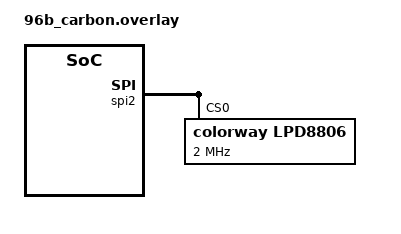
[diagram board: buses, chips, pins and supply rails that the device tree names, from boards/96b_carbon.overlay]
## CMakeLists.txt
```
# SPDX-License-Identifier: Apache-2.0

cmake_minimum_required(VERSION 3.13.1)

find_package(Zephyr REQUIRED HINTS $ENV{ZEPHYR_BASE})
project(led_lpd8806)

FILE(GLOB app_sources src/*.c)
target_sources(app PRIVATE ${app_sources})
```

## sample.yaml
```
sample:
  description: Demonstration of the lpd880x LED driver
  name: LPD880x sample
tests:
  sample.drivers.led.lpd8806:
    platform_allow: 96b_carbon
    tags: LED
```

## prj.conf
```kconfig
# This file expresses generic requirements ONLY; see README.rst.

CONFIG_LOG=y
CONFIG_BOOT_BANNER=y
CONFIG_POLL=y

CONFIG_SPI=y

CONFIG_LED_STRIP=y
CONFIG_LPD880X_STRIP=y
```

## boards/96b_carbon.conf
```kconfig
CONFIG_SPI_STM32=y
CONFIG_SPI_STM32_INTERRUPT=y
```

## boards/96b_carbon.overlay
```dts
/*
 * Copyright (c) 2019, Linaro Limited
 *
 * SPDX-License-Identifier: Apache-2.0
 */

&spi2 {

	led_strip@0 {
		compatible = "colorway,lpd8806";
		reg = <0>;
		spi-max-frequency = <2000000>;
		label = "LPD8806";
	};
};
```

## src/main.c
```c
/*
 * Copyright (c) 2017 Linaro Limited
 *
 * SPDX-License-Identifier: Apache-2.0
 */

#include <errno.h>
#include <string.h>

#define LOG_LEVEL CONFIG_LOG_DEFAULT_LEVEL
#include <logging/log.h>
LOG_MODULE_REGISTER(main);

#include <zephyr.h>
#include <drivers/led_strip.h>
#include <device.h>
#include <drivers/spi.h>
#include <sys/util.h>

/*
 * Number of RGB LEDs in the LED strip, adjust as needed.
 */
#define STRIP_NUM_LEDS 32

#define DELAY_TIME K_MSEC(40)

static const struct led_rgb colors[] = {
	{ .r = 0xff, .g = 0x00, .b = 0x00, }, /* red */
	{ .r = 0x00, .g = 0xff, .b = 0x00, }, /* green */
	{ .r = 0x00, .g = 0x00, .b = 0xff, }, /* blue */
};

static const struct led_rgb black = {
	.r = 0x00,
	.g = 0x00,
	.b = 0x00,
};

struct led_rgb strip_colors[STRIP_NUM_LEDS];

static const struct device *strip = DEVICE_DT_GET_ANY(colorway_lpd8806);

const struct led_rgb *color_at(size_t time, size_t i)
{
	size_t rgb_start = time % STRIP_NUM_LEDS;

	if (rgb_start <= i && i < rgb_start + ARRAY_SIZE(colors)) {
		return &colors[i - rgb_start];
	} else {
		return &black;
	}
}

void main(void)
{
	size_t i, time;

	if (!strip) {
		LOG_ERR("LED strip device not found");
		return;
	} else if (!device_is_ready(strip)) {
		LOG_INF("LED strip device %s is not ready", strip->name);
		return;
	}
	LOG_INF("Found LED strip device %s", strip->name);

	/*
	 * Display a pattern that "walks" the three primary colors
	 * down the strip until it reaches the end, then starts at the
	 * beginning.
	 */
	LOG_INF("Displaying pattern on strip");
	time = 0;
	while (1) {
		for (i = 0; i < STRIP_NUM_LEDS; i++) {
			memcpy(&strip_colors[i], color_at(time, i),
			       sizeof(strip_colors[i]));
		}
		led_strip_update_rgb(strip, strip_colors, STRIP_NUM_LEDS);
		k_sleep(DELAY_TIME);
		time++;
	}
}
```
